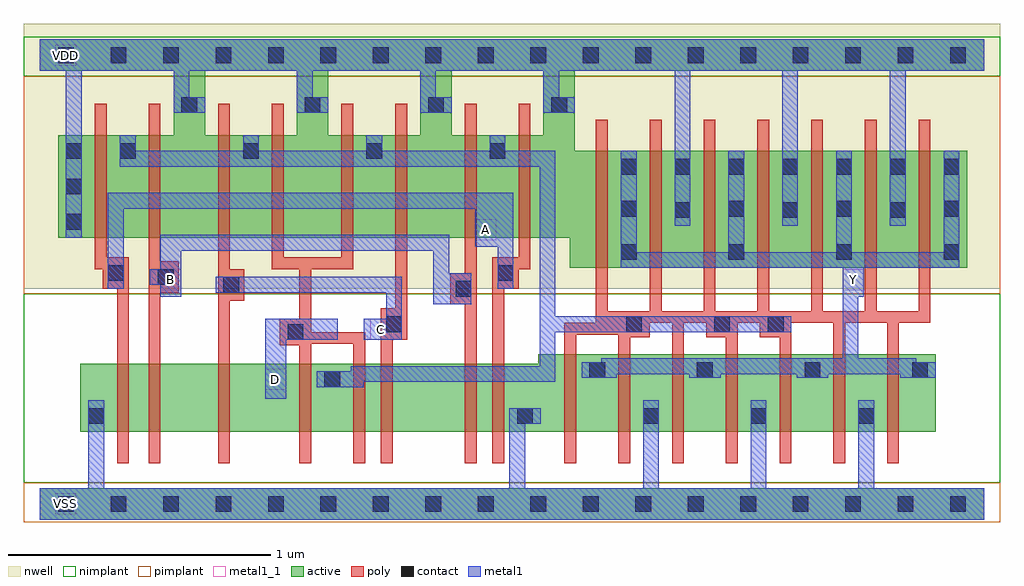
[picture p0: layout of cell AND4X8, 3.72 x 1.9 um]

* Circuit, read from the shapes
.subckt AND4X8 A B C D VDD VSS Y
M1 n1 A VSS VSS nfet w=0.26u l=0.045u
M2 n2 B n1 VSS nfet w=0.26u l=0.045u
M3 n3 C n2 VSS nfet w=0.26u l=0.045u
M4 n4 D n3 VSS nfet w=0.26u l=0.045u
M5 n5 D n4 VSS nfet w=0.26u l=0.045u
M6 n6 C n5 VSS nfet w=0.26u l=0.045u
M7 n7 B n6 VSS nfet w=0.26u l=0.045u
M8 VSS A n7 VSS nfet w=0.26u l=0.045u
M9 Y n4 VSS VSS nfet w=0.295u l=0.045u m=7
M10 n4 A VDD VDD pfet w=0.39u l=0.045u m=2
M11 VDD B n4 VDD pfet w=0.39u l=0.045u m=2
M12 n4 C VDD VDD pfet w=0.39u l=0.045u m=2
M13 VDD D n4 VDD pfet w=0.39u l=0.045u m=2
M14 Y n4 VDD VDD pfet w=0.445u l=0.045u m=7
.ends

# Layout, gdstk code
import gdstk
lib = gdstk.Library(unit=1e-6, precision=5e-10)
def R(c, l, rs):  # rectangles x0, y0, x1, y1
    for r in rs: c.add(gdstk.rectangle(r[:2], r[2:], *l))
def A(c, l, x, y, w, h, nx, ny, dx, dy):  # array of equal rectangles
    R(c, l, [(x+i*dx, y+j*dy, x+i*dx+w, y+j*dy+h) for i in range(nx) for j in range(ny)])
def P(c, l, *ps):  # polygons
    for p in ps: c.add(gdstk.Polygon(p, *l))
active = (1, 0)
nwell = (2, 0)
poly = (3, 0)
nimplant = (4, 0)
pimplant = (5, 0)
contact = (6, 0)
metal1 = (7, 0)
metal1_1 = (7, 1)

and4x8 = lib.new_cell('AND4X8')
R(and4x8, active, [(0,-0.06,3.6,0.06)])
P(and4x8, active, [(0,1.77),(3.6,1.77),(3.6,1.65),(2.04,1.65),(2.04,1.345),(3.535,1.345),(3.535,0.9),(2.02,0.9),(2.02,1.015),(0.07,1.015),(0.07,1.405),(0.51,1.405),(0.51,1.65),(0.63,1.65),(0.63,1.405),(0.98,1.405),(0.98,1.65),(1.1,1.65),(1.1,1.405),(1.45,1.405),(1.45,1.65),(1.57,1.65),(1.57,1.405),(1.92,1.405),(1.92,1.65),(0,1.65)],
  [(1.9,0.57),(3.415,0.57),(3.415,0.275),(0.155,0.275),(0.155,0.535),(1.9,0.535)])
R(and4x8, nwell, [(-0.06,0.82,3.66,1.83)])
P(and4x8, poly, [(0.21,1.525),(0.255,1.525),(0.255,0.94),(0.34,0.94),(0.34,0.155),(0.295,0.155),(0.295,0.82),(0.24,0.82),(0.24,0.895),(0.21,0.895)],
  [(0.415,1.525),(0.46,1.525),(0.46,0.925),(0.53,0.925),(0.53,0.805),(0.46,0.805),(0.46,0.155),(0.415,0.155)],
  [(0.68,1.525),(0.725,1.525),(0.725,0.895),(0.78,0.895),(0.78,0.775),(0.725,0.775),(0.725,0.155),(0.68,0.155)],
  [(0.885,1.525),(0.93,1.525),(0.93,0.94),(1.15,0.94),(1.15,1.525),(1.195,1.525),(1.195,0.895),(1.035,0.895),(1.035,0.655),(1.24,0.655),(1.24,0.155),(1.195,0.155),(1.195,0.61),(1.035,0.61),(1.035,0.155),(0.99,0.155),(0.99,0.605),(0.915,0.605),(0.915,0.705),(0.99,0.705),(0.99,0.895),(0.885,0.895)],
  [(1.355,1.525),(1.4,1.525),(1.4,0.625),(1.345,0.625),(1.345,0.155),(1.3,0.155),(1.3,0.745),(1.355,0.745)],
  [(1.62,1.525),(1.665,1.525),(1.665,0.155),(1.62,0.155),(1.62,0.76),(1.565,0.76),(1.565,0.88),(1.62,0.88)],
  [(1.825,1.525),(1.87,1.525),(1.87,0.895),(1.825,0.895),(1.825,0.82),(1.77,0.82),(1.77,0.155),(1.725,0.155),(1.725,0.94),(1.825,0.94)],
  [(2.12,1.465),(2.165,1.465),(2.165,0.735),(2.325,0.735),(2.325,1.465),(2.37,1.465),(2.37,0.735),(2.53,0.735),(2.53,1.465),(2.575,1.465),(2.575,0.735),(2.735,0.735),(2.735,1.465),(2.78,1.465),(2.78,0.735),(2.94,0.735),(2.94,1.465),(2.985,1.465),(2.985,0.735),(3.145,0.735),(3.145,1.465),(3.19,1.465),(3.19,0.735),(3.35,0.735),(3.35,1.465),(3.395,1.465),(3.395,0.69),(3.275,0.69),(3.275,0.155),(3.23,0.155),(3.23,0.69),(3.07,0.69),(3.07,0.155),(3.025,0.155),(3.025,0.69),(2.865,0.69),(2.865,0.155),(2.82,0.155),(2.82,0.635),(2.745,0.635),(2.745,0.69),(2.66,0.69),(2.66,0.155),(2.615,0.155),(2.615,0.635),(2.54,0.635),(2.54,0.69),(2.455,0.69),(2.455,0.155),(2.41,0.155),(2.41,0.69),(2.325,0.69),(2.325,0.635),(2.25,0.635),(2.25,0.155),(2.205,0.155),(2.205,0.645),(2.045,0.645),(2.045,0.155),(2,0.155),(2,0.69),(2.12,0.69)])
R(and4x8, nimplant, [(-0.06,0.08,3.66,0.8), (-0.06,1.63,3.66,1.78)])
R(and4x8, pimplant, [(-0.06,-0.07,3.66,0.08), (-0.06,0.8,3.66,1.63)])
A(and4x8, contact, 0.07, -0.03, 0.06, 0.06, 18, 2, 0.2, 1.71)
A(and4x8, contact, 2.3, 0.305, 0.06, 0.06, 3, 1, 0.41, 0)
A(and4x8, contact, 2.095, 0.48, 0.06, 0.06, 4, 1, 0.41, 0)
A(and4x8, contact, 2.215, 0.93, 0.06, 0.06, 4, 2, 0.41, 0.165)
A(and4x8, contact, 0.1, 1.045, 0.06, 0.06, 1, 3, 0, 0.135)
A(and4x8, contact, 2.42, 1.09, 0.06, 0.06, 3, 1, 0.41, 0)
A(and4x8, contact, 2.215, 1.255, 0.06, 0.06, 7, 1, 0.205, 0)
A(and4x8, contact, 0.305, 1.315, 0.06, 0.06, 4, 1, 0.47, 0)
A(and4x8, contact, 0.54, 1.49, 0.06, 0.06, 4, 1, 0.47, 0)
R(and4x8, contact, [(0.185,0.305,0.245,0.365), (1.82,0.305,1.88,0.365), (1.085,0.445,1.145,0.505), (0.945,0.625,1.005,0.685), (1.32,0.655,1.38,0.715), (2.235,0.655,2.295,0.715), (2.57,0.655,2.63,0.715), (2.775,0.655,2.835,0.715), (1.585,0.79,1.645,0.85), (0.7,0.805,0.76,0.865), (0.45,0.835,0.51,0.895), (0.26,0.85,0.32,0.91), (1.745,0.85,1.805,0.91)])
P(and4x8, metal1, [(0,1.77),(3.6,1.77),(3.6,1.65),(3.3,1.65),(3.3,1.06),(3.24,1.06),(3.24,1.65),(2.89,1.65),(2.89,1.06),(2.83,1.06),(2.83,1.65),(2.48,1.65),(2.48,1.06),(2.42,1.06),(2.42,1.65),(1.98,1.65),(1.98,1.55),(2.04,1.55),(2.04,1.49),(1.92,1.49),(1.92,1.65),(1.51,1.65),(1.51,1.55),(1.57,1.55),(1.57,1.49),(1.45,1.49),(1.45,1.65),(1.04,1.65),(1.04,1.55),(1.1,1.55),(1.1,1.49),(0.98,1.49),(0.98,1.65),(0.57,1.65),(0.57,1.55),(0.63,1.55),(0.63,1.49),(0.51,1.49),(0.51,1.65),(0.16,1.65),(0.16,1.015),(0.1,1.015),(0.1,1.65),(0,1.65)],
  [(0.305,1.405),(0.365,1.405),(0.365,1.345),(0.775,1.345),(0.775,1.405),(0.835,1.405),(0.835,1.345),(1.245,1.345),(1.245,1.405),(1.305,1.405),(1.305,1.345),(1.715,1.345),(1.715,1.405),(1.775,1.405),(1.775,1.345),(1.965,1.345),(1.965,0.715),(2.865,0.715),(2.865,0.655),(1.965,0.655),(1.965,0.465),(1.235,0.465),(1.235,0.445),(1.055,0.445),(1.055,0.505),(1.185,0.505),(1.185,0.525),(1.905,0.525),(1.905,1.285),(0.305,1.285)],
  [(2.215,1.345),(2.275,1.345),(2.275,0.96),(2.625,0.96),(2.625,1.345),(2.685,1.345),(2.685,0.96),(3.035,0.96),(3.035,1.345),(3.095,1.345),(3.095,0.96),(3.445,0.96),(3.445,1.345),(3.505,1.345),(3.505,0.9),(3.14,0.9),(3.14,0.79),(3.12,0.79),(3.12,0.555),(3.34,0.555),(3.34,0.54),(3.415,0.54),(3.415,0.48),(3.28,0.48),(3.28,0.495),(3.005,0.495),(3.005,0.48),(2.885,0.48),(2.885,0.495),(2.595,0.495),(2.595,0.48),(2.475,0.48),(2.475,0.495),(2.2,0.495),(2.2,0.48),(2.065,0.48),(2.065,0.54),(2.14,0.54),(2.14,0.555),(3.06,0.555),(3.06,0.9),(2.215,0.9)],
  [(0.26,1.185),(1.805,1.185),(1.805,0.82),(1.745,0.82),(1.745,0.98),(1.66,0.98),(1.66,1.125),(0.32,1.125),(0.32,0.82),(0.26,0.82)],
  [(0.46,1.025),(1.56,1.025),(1.56,0.88),(1.645,0.88),(1.645,0.76),(1.5,0.76),(1.5,0.965),(0.54,0.965),(0.54,0.79),(0.46,0.79),(0.46,0.835),(0.42,0.835),(0.42,0.895),(0.46,0.895)],
  [(0.67,0.865),(1.38,0.865),(1.38,0.625),(1.235,0.625),(1.235,0.705),(1.32,0.705),(1.32,0.805),(0.67,0.805)],
  [(0.86,0.705),(1.135,0.705),(1.135,0.625),(0.94,0.625),(0.94,0.4),(0.86,0.4)],
  [(0.185,0.395),(0.245,0.395),(0.245,0.06),(1.79,0.06),(1.79,0.365),(1.91,0.365),(1.91,0.305),(1.85,0.305),(1.85,0.06),(2.3,0.06),(2.3,0.395),(2.36,0.395),(2.36,0.06),(2.71,0.06),(2.71,0.395),(2.77,0.395),(2.77,0.06),(3.12,0.06),(3.12,0.395),(3.18,0.395),(3.18,0.06),(3.6,0.06),(3.6,-0.06),(0,-0.06),(0,0.06),(0.185,0.06)])
R(and4x8, metal1_1, [(0.06,-0.04,0.14,0.04), (0.86,0.435,0.94,0.515), (1.26,0.625,1.34,0.705), (0.46,0.815,0.54,0.895), (3.06,0.815,3.14,0.895), (1.66,1.005,1.74,1.085), (0.06,1.67,0.14,1.75)])
and4x8.add(gdstk.Label('Y', (3.1,0.855), layer=7, texttype=1))
and4x8.add(gdstk.Label('A', (1.7,1.045), layer=7, texttype=1))
and4x8.add(gdstk.Label('B', (0.5,0.855), layer=7, texttype=1))
and4x8.add(gdstk.Label('C', (1.3,0.665), layer=7, texttype=1))
and4x8.add(gdstk.Label('D', (0.9,0.475), layer=7, texttype=1))
and4x8.add(gdstk.Label('VDD', (0.1,1.71), layer=7, texttype=1))
and4x8.add(gdstk.Label('VSS', (0.1,0), layer=7, texttype=1))
and4x8.add(gdstk.Label('AND4X8', (0,0), layer=63, texttype=0))

lib.write_gds('AND4X8.gds')
